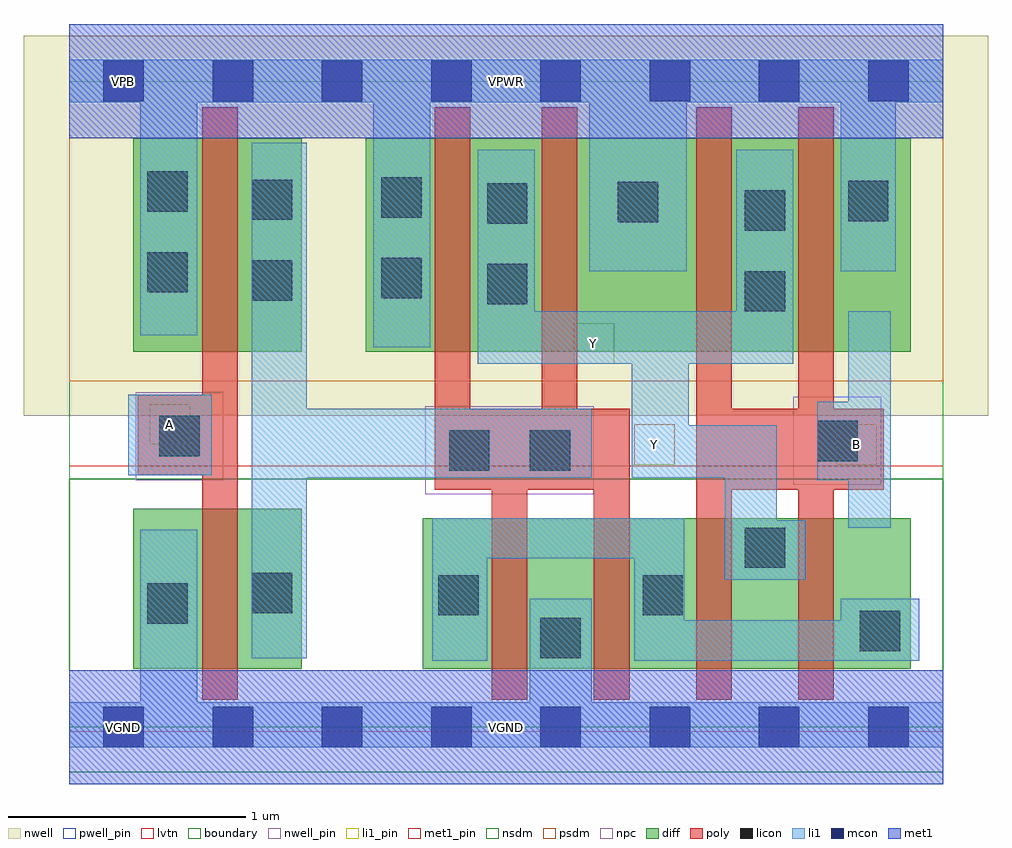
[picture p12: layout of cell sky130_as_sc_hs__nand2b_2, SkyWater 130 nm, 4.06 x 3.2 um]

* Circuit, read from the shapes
.subckt sky130_as_sc_hs__nand2b_2 A B VGND VNB VPB VPWR Y
XM1 n1 A VGND VNB sky130_fd_pr__nfet_01v8_lvt w=0.675 l=0.15
XM2 VGND n1 n2 VNB sky130_fd_pr__nfet_01v8_lvt w=0.635 l=0.15 m=2
XM3 Y B n2 VNB sky130_fd_pr__nfet_01v8_lvt w=0.635 l=0.15 m=2
XM4 n1 A VPWR VPB sky130_fd_pr__pfet_01v8 w=0.9 l=0.15
XM5 Y n1 VPWR VPB sky130_fd_pr__pfet_01v8 w=0.9 l=0.15 m=2
XM6 Y B VPWR VPB sky130_fd_pr__pfet_01v8 w=0.9 l=0.15 m=2
.ends

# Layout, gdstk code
import gdstk
lib = gdstk.Library(unit=1e-6, precision=1e-09)
def R(c, l, rs):  # rectangles x0, y0, x1, y1
    for r in rs: c.add(gdstk.rectangle(r[:2], r[2:], *l))
def A(c, l, x, y, w, h, nx, ny, dx, dy):  # array of equal rectangles
    R(c, l, [(x+i*dx, y+j*dy, x+i*dx+w, y+j*dy+h) for i in range(nx) for j in range(ny)])
nwell_pin = (64, 16)
nwell = (64, 20)
diff = (65, 20)
poly = (66, 20)
licon = (66, 44)
li1_pin = (67, 16)
li1 = (67, 20)
mcon = (67, 44)
met1_pin = (68, 16)
met1 = (68, 20)
nsdm = (93, 44)
psdm = (94, 20)
npc = (95, 20)
pwell_pin = (122, 16)
lvtn = (125, 44)
boundary = (235, 4)

sky130_as_sc_hs__nand2b_ = lib.new_cell('sky130_as_sc_hs__nand2b_2')
R(sky130_as_sc_hs__nand2b_, nwell_pin, [(0.145,2.635,0.315,2.805)])
R(sky130_as_sc_hs__nand2b_, nwell, [(-0.19,1.31,3.87,2.91)])
R(sky130_as_sc_hs__nand2b_, diff, [(0.27,0.245,0.98,0.92), (1.49,0.245,3.545,0.88), (0.27,1.58,0.98,2.48), (1.25,1.58,3.545,2.48)])
A(sky130_as_sc_hs__nand2b_, poly, 1.78, 0.115, 0.15, 0.885, 4, 1, 0.43, 0)
R(sky130_as_sc_hs__nand2b_, poly, [(0.56,0.115,0.71,1.06), (1.54,1,2.36,1.34), (2.64,1,3.43,1.34), (0.29,1.06,0.71,1.4), (1.54,1.34,1.69,2.61), (1.99,1.34,2.14,2.61), (2.64,1.34,2.79,2.61), (3.07,1.34,3.22,2.61), (0.56,1.4,0.71,2.61)])
R(sky130_as_sc_hs__nand2b_, licon, [(1.985,0.29,2.155,0.46), (3.33,0.32,3.5,0.49), (0.33,0.435,0.5,0.605), (1.555,0.47,1.725,0.64), (2.415,0.47,2.585,0.64), (0.77,0.48,0.94,0.65), (2.845,0.67,3.015,0.84), (1.6,1.08,1.77,1.25), (1.94,1.08,2.11,1.25), (3.15,1.12,3.32,1.29), (0.38,1.14,0.55,1.31), (2.845,1.75,3.015,1.92), (1.76,1.78,1.93,1.95), (0.77,1.795,0.94,1.965), (1.315,1.805,1.485,1.975), (0.33,1.83,0.5,2), (2.845,2.09,3.015,2.26), (1.76,2.12,1.93,2.29), (2.31,2.125,2.48,2.295), (3.28,2.13,3.45,2.3), (0.77,2.135,0.94,2.305), (1.315,2.145,1.485,2.315), (0.33,2.17,0.5,2.34)])
R(sky130_as_sc_hs__nand2b_, li1_pin, [(2.38,1.105,2.55,1.275), (3.23,1.105,3.4,1.275), (0.34,1.19,0.51,1.36), (2.125,1.53,2.295,1.7)])
R(sky130_as_sc_hs__nand2b_, li1, [(0,-0.085,3.68,0.105), (0.3,0.105,0.54,0.83), (1.94,0.105,2.2,0.54), (1.53,0.28,1.76,0.71), (2.38,0.28,3.58,0.45), (0.77,0.29,1,1.05), (2.38,0.45,2.59,0.71), (3.25,0.45,3.58,0.54), (2.76,0.62,3.1,0.87), (1.53,0.71,2.59,0.88), (3.28,0.84,3.46,1.04), (2.76,0.87,2.98,1.05), (3.15,1.04,3.46,1.37), (0.77,1.05,2.2,1.34), (2.37,1.05,2.98,1.27), (0.25,1.06,0.6,1.4), (2.37,1.27,2.61,1.53), (0.77,1.34,1,2.46), (3.28,1.37,3.46,1.75), (1.72,1.53,3.05,1.75), (1.28,1.6,1.52,2.63), (0.3,1.65,0.54,2.63), (1.72,1.75,1.96,2.43), (2.81,1.75,3.05,2.43), (2.19,1.92,2.6,2.63), (3.25,1.92,3.48,2.63), (0,2.63,3.68,2.81)])
A(sky130_as_sc_hs__nand2b_, mcon, 0.145, -0.085, 0.17, 0.17, 8, 2, 0.46, 2.72)
R(sky130_as_sc_hs__nand2b_, met1_pin, [(0,-0.24,3.68,0.24), (0.145,-0.085,0.315,0.085), (0,2.48,3.68,2.96), (0.145,2.635,0.315,2.805)])
R(sky130_as_sc_hs__nand2b_, met1, [(0,-0.24,3.68,0.24), (0,2.48,3.68,2.96)])
R(sky130_as_sc_hs__nand2b_, nsdm, [(0,-0.19,3.68,1.045)])
R(sky130_as_sc_hs__nand2b_, psdm, [(0,1.455,3.68,2.91)])
R(sky130_as_sc_hs__nand2b_, npc, [(1.5,0.98,2.21,1.35), (3.05,1.02,3.42,1.39), (0.28,1.04,0.65,1.41)])
R(sky130_as_sc_hs__nand2b_, pwell_pin, [(0.145,-0.085,0.315,0.085)])
R(sky130_as_sc_hs__nand2b_, lvtn, [(0,-0.02,3.68,1.1)])
R(sky130_as_sc_hs__nand2b_, boundary, [(0,0,3.68,2.72)])
sky130_as_sc_hs__nand2b_.add(gdstk.Label('VPB', (0.23,2.72), layer=64, texttype=5))
sky130_as_sc_hs__nand2b_.add(gdstk.Label('VPB', (0.23,2.72), layer=64, texttype=5))
sky130_as_sc_hs__nand2b_.add(gdstk.Label('VPWR', (0.23,2.72), layer=68, texttype=5))
sky130_as_sc_hs__nand2b_.add(gdstk.Label('VPWR', (1.84,2.72), layer=68, texttype=5))
sky130_as_sc_hs__nand2b_.add(gdstk.Label('VGND', (1.84,0), layer=68, texttype=5))
sky130_as_sc_hs__nand2b_.add(gdstk.Label('VGND', (0.23,0), layer=68, texttype=5))
sky130_as_sc_hs__nand2b_.add(gdstk.Label('VNB', (0.23,0), layer=64, texttype=59))
sky130_as_sc_hs__nand2b_.add(gdstk.Label('VNB', (0.23,0), layer=64, texttype=59))
sky130_as_sc_hs__nand2b_.add(gdstk.Label('A', (0.425,1.275), layer=67, texttype=5))
sky130_as_sc_hs__nand2b_.add(gdstk.Label('A', (0.425,1.275), layer=67, texttype=5))
sky130_as_sc_hs__nand2b_.add(gdstk.Label('Y', (2.465,1.19), layer=67, texttype=5))
sky130_as_sc_hs__nand2b_.add(gdstk.Label('Y', (2.465,1.19), layer=67, texttype=5))
sky130_as_sc_hs__nand2b_.add(gdstk.Label('Y', (2.21,1.615), layer=67, texttype=5))
sky130_as_sc_hs__nand2b_.add(gdstk.Label('Y', (2.21,1.615), layer=67, texttype=5))
sky130_as_sc_hs__nand2b_.add(gdstk.Label('B', (3.315,1.19), layer=67, texttype=5))
sky130_as_sc_hs__nand2b_.add(gdstk.Label('B', (3.315,1.19), layer=67, texttype=5))

lib.write_gds('sky130_as_sc_hs__nand2b_2.gds')
